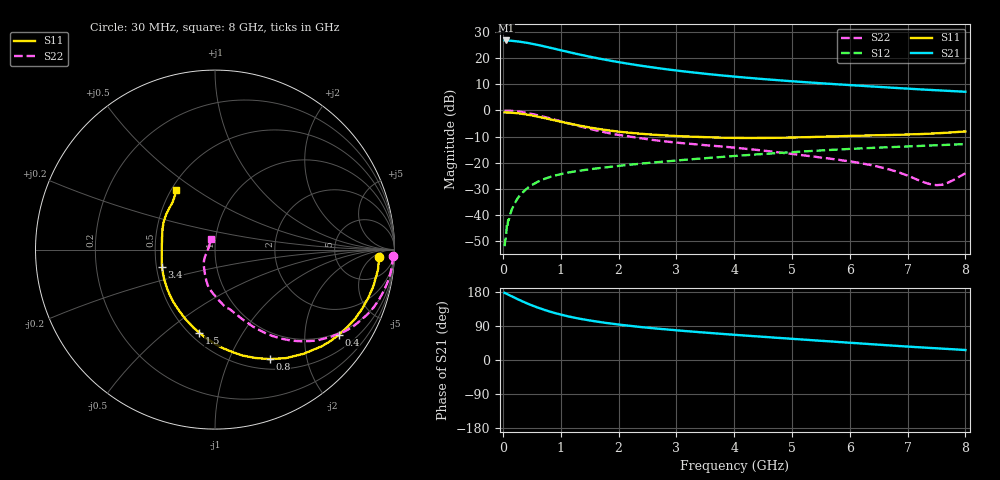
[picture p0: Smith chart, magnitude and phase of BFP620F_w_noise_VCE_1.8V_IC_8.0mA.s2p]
! Infineon Technologies  Discrete & RF Semiconductors
! BFP620F
! VCE =  1.8 V,  IC =  8.0 mA
! Common Emitter S-Parameters:  Dec 2014
# GHz  S  MA  R  50
!  f  S11  S21  S12  S22
! GHz  MAG  ANG  MAG  ANG  MAG  ANG  MAG  ANG
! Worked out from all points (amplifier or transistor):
!   95 points, 30 MHz to 8 GHz, reference 50 ohm
!   highest |S21| = 26.8 dB at 50 MHz (marker M1)
!   |S21| within 3 dB of that: start of sweep to 857.1 MHz
!   unconditionally stable (mu >= 1): 4.345 GHz to end of sweep
!   at 300 MHz: K = 0.14, MSG = 29.3 dB, |S12| = -32.4 dB
!   at 3.3 GHz: K = 0.93, MSG = 16.6 dB, |S12| = -18.7 dB
!   at 8 GHz: K = 1.10, MAG = 8.1 dB, |S12| = -12.9 dB
!   lowest NFmin = 0.56 dB at 450 MHz
!   S11 on the Smith chart (normalised r, x): 30 MHz: 18, -9; 400 MHz: 0.93, -2.96; 800 MHz: 0.62, -1.43; 1.5 GHz: 0.56, -0.66; 3.4 GHz: 0.54, -0.11; 8 GHz: 0.53, +0.42
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0.03  0.917 -2.6  21.94 177.2  0.0025 74.5  0.9909 -2.0
0.05  0.9155 -4.4  21.95 175.8  0.0036 98.7  0.9912 -3.3
0.15  0.9044 -13.4  21.64 168.3  0.0123 83.4  0.9799 -10.2
0.25  0.8831 -22.0  21.06 160.8  0.0202 78.7  0.9559 -16.8
0.4  0.8375 -34.5  19.93 150.6  0.0307 73.1  0.9005 -26.1
0.5  0.8022 -42.2  18.96 144.4  0.0371 68.8  0.8573 -31.9
0.6  0.7611 -49.8  18.02 138.5  0.0427 65.7  0.8079 -37.0
0.7  0.7223 -56.8  17.05 133.2  0.0479 62.5  0.7603 -41.8
0.8  0.6826 -63.4  16.07 128.3  0.0523 60.0  0.7112 -46.0
1  0.6096 -75.5  14.26 119.9  0.06 56.3  0.6213 -53.1
1.1  0.5749 -81.0  13.44 116.2  0.0633 54.6  0.5792 -56.3
1.4  0.495 -96.0  11.33 107.0  0.0718 51.5  0.4745 -64.0
1.5  0.4711 -100.6  10.74 104.4  0.0743 50.7  0.4448 -66.1
1.7  0.4335 -109.4  9.702 99.7  0.0791 49.7  0.3946 -70.4
2  0.392 -121.2  8.446 93.6  0.0864 48.3  0.3393 -76.5
2.7  0.3375 -144.0  6.434 82.4  0.1026 45.9  0.2631 -88.9
3.4  0.3101 -161.8  5.189 73.4  0.1191 43.9  0.2209 -97.8
4.1  0.2974 -176.7  4.356 65.5  0.1362 41.5  0.1891 -103.8
5.4  0.3107 160.6  3.379 51.7  0.1686 35.9  0.1298 -117.2
6.7  0.3384 141.2  2.742 38.4  0.1978 28.7  0.0729 -142.0
7.5  0.3644 129.0  2.437 30.9  0.2149 24.5  0.037 162.0
8  0.3965 123.1  2.28 26.3  0.226 21.5  0.0623 111.4
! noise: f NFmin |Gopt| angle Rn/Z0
0.45  0.56  0.34  9  0.24
0.9  0.63  0.3  19  0.21
1.5  0.69  0.28  22  0.17
1.8  0.72  0.26  25  0.16
1.9  0.73  0.21  39  0.18
2.4  0.78  0.19  54  0.16
3.5  0.89  0.18  74  0.13
5.5  1.07  0.13  168  0.11
6  1.11  0.1  192  0.19
